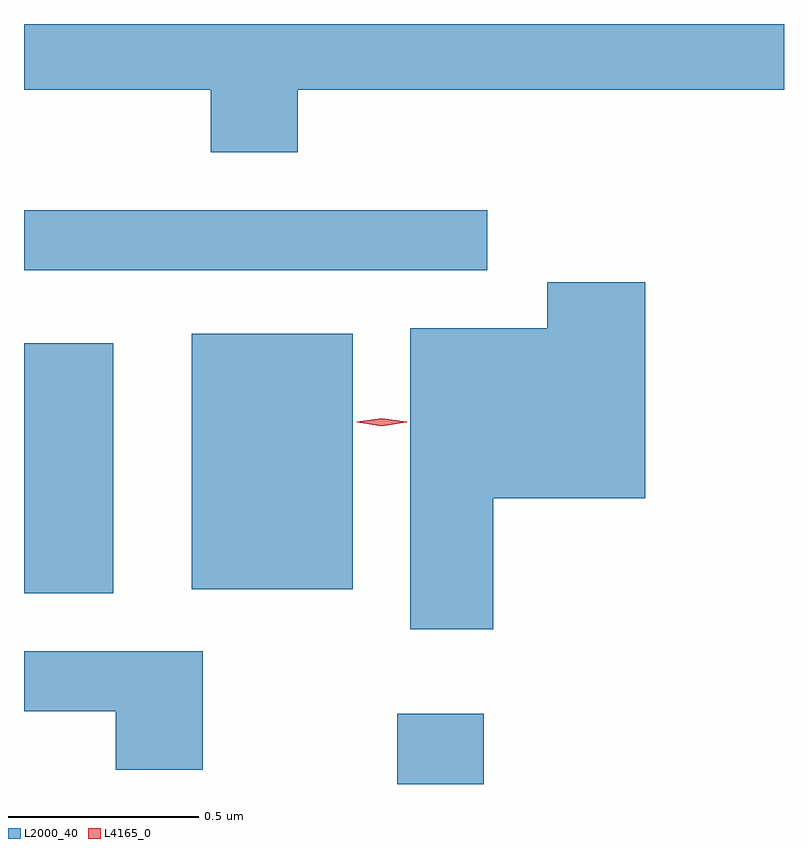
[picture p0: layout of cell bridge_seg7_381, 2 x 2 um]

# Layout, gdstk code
import gdstk
lib = gdstk.Library(unit=1e-6, precision=1e-09)
def R(c, l, rs):  # rectangles x0, y0, x1, y1
    for r in rs: c.add(gdstk.rectangle(r[:2], r[2:], *l))
def P(c, l, *ps):  # polygons
    for p in ps: c.add(gdstk.Polygon(p, *l))
L2000_40 = (2000, 40)
L4165_0 = (4165, 0)

bridge_seg7_381 = lib.new_cell('bridge_seg7_381')
R(bridge_seg7_381, L2000_40, [(1190.561,1750.229,1190.789,1750.414), (1189.579,1750.731,1189.814,1751.389), (1190.021,1750.741,1190.444,1751.414), (1189.579,1751.581,1190.798,1751.739)])
P(bridge_seg7_381, L2000_40, [(1190.299,1752.056),(1191.579,1752.056),(1191.579,1752.229),(1189.579,1752.229),(1189.579,1752.056),(1190.071,1752.056),(1190.071,1751.891),(1190.299,1751.891)],
  [(1190.814,1750.981),(1191.214,1750.981),(1191.214,1751.549),(1190.956,1751.549),(1190.956,1751.429),(1190.596,1751.429),(1190.596,1750.636),(1190.814,1750.636)],
  [(1190.049,1750.579),(1189.579,1750.579),(1189.579,1750.421),(1189.821,1750.421),(1189.821,1750.266),(1190.049,1750.266)])
P(bridge_seg7_381, L4165_0, [(1190.52,1751.171),(1190.454,1751.181),(1190.454,1751.181),(1190.454,1751.182),(1190.52,1751.191),(1190.586,1751.182),(1190.587,1751.181),(1190.586,1751.181)])

lib.write_gds('bridge_seg7_381.gds')
